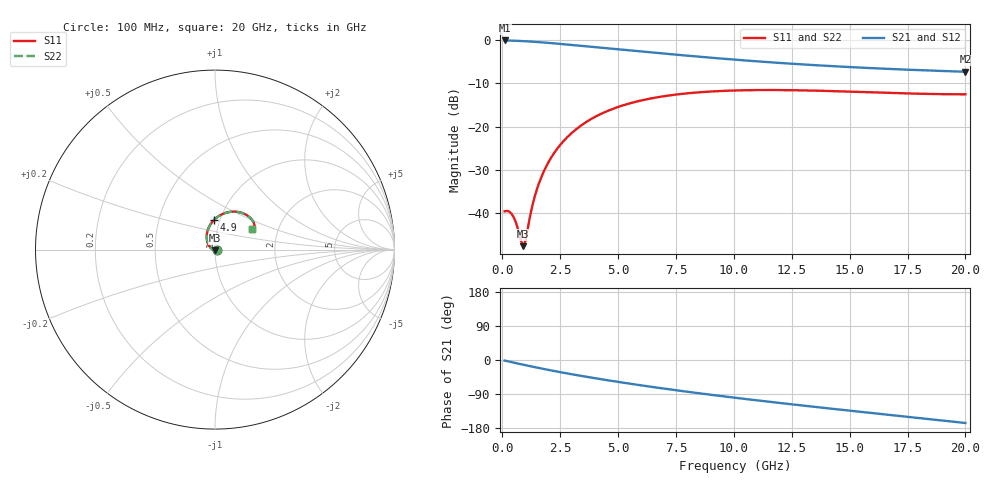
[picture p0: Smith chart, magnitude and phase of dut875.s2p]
! Touchstone file exported from HFSS 2024.1.0
!  File:  C:/UserFiles/LocalFiles/RDL_TSV_Batchsim/temp_RDL_TSV_875_1779928599.aedt
!  Generated:  08:50:41 AM May 28, 2026
!  Design:  RDL_TSV
!  Project:  temp_RDL_TSV_875_1779928599
!  Setup:  Setup1
!  Solution:  Sweep
! Variables:
!  dtsv = 7.31um
!  hbump = 3um
!  htsv = 78.45um
!  ldown = 230.59um
!  lrdl = 405.51um
!  p = 40
!  p1 = 45.45um
!  rhole = 10um
!  subl = 2313.81um
!  t = 450um
!  tdown = 4.68um
!  trdl = 3.2um
!  viad = 10um
!  wdown = 23.67um
!  wrdl = 26.68um
!  xbump = 18um
# GHz S MA R 50.000000
! Terminal data exported
! Port[1] = TM1_1_T1
! Port[2] = TM1_4_T1
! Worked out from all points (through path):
!   200 points, 100 MHz to 20 GHz, reference 50 ohm
!   highest |S21| = -0.10 dB at 100 MHz (marker M1); lowest = -7.3 dB at 20 GHz (marker M2)
!   group delay of S21, straight-line fit = 21.9 ps
!   lowest |S11| = -47.6 dB at 900 MHz (marker M3), VSWR 1.01, Z = 50 - j0.415 ohm
!   |S11| at or under -10 dB: start of sweep to end of sweep
!   |S22| runs from -47.6 to -11.6 dB; largest |S21 - S12| = 1.6e-14
!   S11 on the Smith chart (normalised r, x): 100 MHz: 1.02, -0.00; 4.9 GHz: 0.94, +0.32; 20 GHz: 1.47, +0.36
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0.1  0.01053 -0.8  0.9891 -1.4  0.9891 -1.4  0.01053 -0.8
! Gamma 0 0 0 0
! Port Impedance 50 0 50 0
0.3  0.01047 -8.4  0.9863 -4.2  0.9863 -4.2  0.01047 -8.4
0.5  0.008915 -21.6  0.9826 -7.0  0.9826 -7.0  0.008916 -21.6
0.6  0.00767 -30.7  0.9804 -8.3  0.9804 -8.3  0.007672 -30.7
0.8  0.004907 -63.3  0.9752 -11.0  0.9752 -11.0  0.004909 -63.2
0.9  0.00417 -95.2  0.9722 -12.4  0.9722 -12.4  0.00417 -95.1
1  0.004785 -131.4  0.969 -13.7  0.969 -13.7  0.00478 -131.3
1.2  0.009258 -171.2  0.9619 -16.3  0.9619 -16.3  0.009245 -171.2
1.4  0.01557 171.9  0.954 -18.9  0.954 -18.9  0.01555 171.9
1.6  0.0228 161.5  0.9455 -21.4  0.9455 -21.4  0.02278 161.5
1.9  0.03484 150.4  0.9317 -25.0  0.9317 -25.0  0.0348 150.4
2.2  0.04784 141.6  0.9173 -28.6  0.9173 -28.6  0.04779 141.6
2.6  0.06605 131.6  0.8974 -33.2  0.8974 -33.2  0.06598 131.6
3.5  0.1075 113.5  0.8526 -42.9  0.8526 -42.9  0.1074 113.5
4.2  0.1378 102.0  0.8187 -50.0  0.8187 -50.0  0.1377 102.0
4.9  0.1651 92.0  0.7862 -56.8  0.7862 -56.8  0.1649 92.0
6.8  0.2207 70.6  0.705 -73.9  0.705 -73.9  0.2205 70.6
8.4  0.2481 57.3  0.6456 -87.0  0.6456 -87.0  0.2477 57.3
10.1  0.2619 46.5  0.5921 -100.0  0.5921 -100.0  0.2615 46.5
13.4  0.2609 33.2  0.5148 -123.0  0.5148 -123.0  0.2604 33.2
16.7  0.2453 28.1  0.4642 -144.8  0.4642 -144.8  0.2448 28.1
20  0.2363 29.5  0.4304 -166.2  0.4304 -166.2  0.2358 29.5
